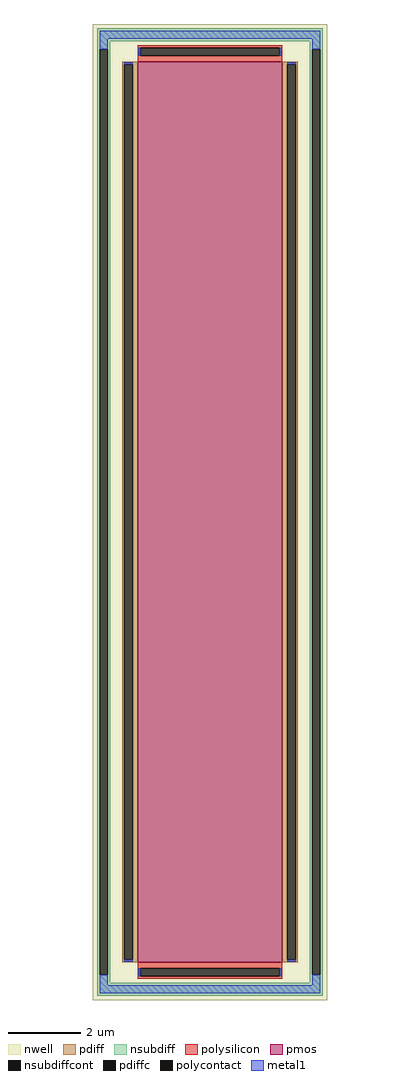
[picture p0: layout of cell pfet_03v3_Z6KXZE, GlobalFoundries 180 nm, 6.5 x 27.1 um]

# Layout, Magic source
magic
tech gf180mcuD
magscale 1 10
<< nwell >>
rect -650 -2710 650 2710
<< pmos >>
rect -400 -2500 400 2500
<< pdiff >>
rect -488 2487 -400 2500
rect -488 -2487 -475 2487
rect -429 -2487 -400 2487
rect -488 -2500 -400 -2487
rect 400 2487 488 2500
rect 400 -2487 429 2487
rect 475 -2487 488 2487
rect 400 -2500 488 -2487
<< pdiffc >>
rect -475 -2487 -429 2487
rect 429 -2487 475 2487
<< nsubdiff >>
rect -626 2614 626 2686
rect -626 2570 -554 2614
rect -626 -2570 -613 2570
rect -567 -2570 -554 2570
rect 554 2570 626 2614
rect -626 -2614 -554 -2570
rect 554 -2570 567 2570
rect 613 -2570 626 2570
rect 554 -2614 626 -2570
rect -626 -2686 626 -2614
<< nsubdiffcont >>
rect -613 -2570 -567 2570
rect 567 -2570 613 2570
<< polysilicon >>
rect -400 2579 400 2592
rect -400 2533 -387 2579
rect 387 2533 400 2579
rect -400 2500 400 2533
rect -400 -2533 400 -2500
rect -400 -2579 -387 -2533
rect 387 -2579 400 -2533
rect -400 -2592 400 -2579
<< polycontact >>
rect -387 2533 387 2579
rect -387 -2579 387 -2533
<< metal1 >>
rect -613 2627 613 2673
rect -613 2570 -567 2627
rect -398 2533 -387 2579
rect 387 2533 398 2579
rect 567 2570 613 2627
rect -475 2487 -429 2498
rect -475 -2498 -429 -2487
rect 429 2487 475 2498
rect 429 -2498 475 -2487
rect -613 -2627 -567 -2570
rect -398 -2579 -387 -2533
rect 387 -2579 398 -2533
rect 567 -2627 613 -2570
rect -613 -2673 613 -2627
<< properties >>
string FIXED_BBOX -590 -2650 590 2650
string gencell pfet_03v3
string library gf180mcu
string parameters w 25 l 4 m 1 nf 1 diffcov 100 polycov 100 guard 1 glc 1 grc 1 gtc 0 gbc 0 tbcov 100 rlcov 100 topc 1 botc 1 poverlap 0 doverlap 1 lmin 0.28 wmin 0.22 class mosfet full_metal 1 compatible {pfet_03v3 pfet_05v0 pfet_06v0}
<< end >>
